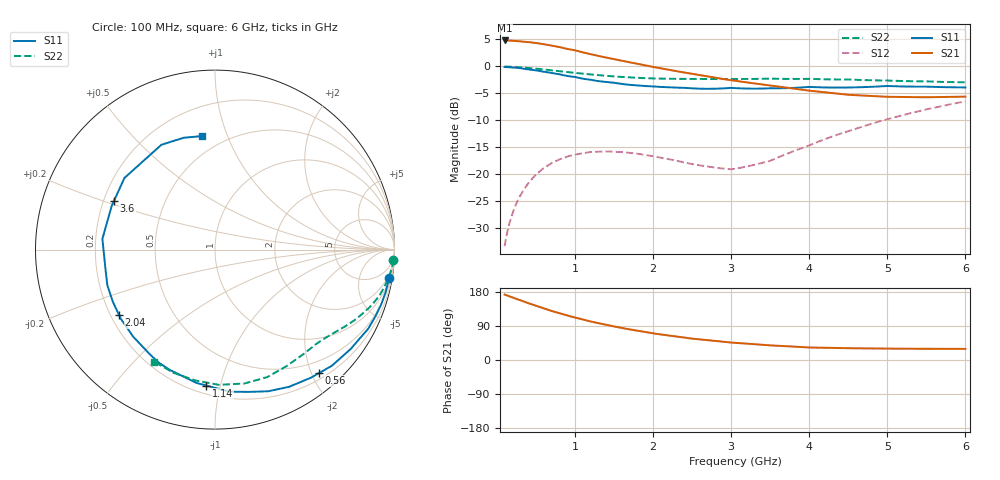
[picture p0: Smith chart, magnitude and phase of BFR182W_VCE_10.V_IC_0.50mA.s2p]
! Infineon Technologies  Discrete & RF Semiconductors
! BFR182W
! VCE =  10. V,  IC = 0.50 mA
! Common Emitter S-Parameters:  Nov 2015
# GHz  S  MA  R  50
!  f  S11  S21  S12  S22
! GHz  MAG  ANG  MAG  ANG  MAG  ANG  MAG  ANG
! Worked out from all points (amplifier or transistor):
!   192 points, 100 MHz to 6 GHz, reference 50 ohm
!   highest |S21| = 4.8 dB at 100 MHz (marker M1)
!   |S21| within 3 dB of that: start of sweep to 1.344 GHz
!   unconditionally stable (mu >= 1): 2.442 GHz to 3.498 GHz
!   at 440 MHz: K = 0.17, MSG = 12.7 dB, |S12| = -21.1 dB
!   at 1.7 GHz: K = 0.67, MSG = 8.4 dB, |S12| = -16.0 dB
!   at 6 GHz: K = 0.89, MSG = 0.4 dB, |S12| = -6.5 dB
!   S11 on the Smith chart (normalised r, x): 100 MHz: 1, -12; 560 MHz: 0.29, -2.12; 1.14 GHz: 0.25, -0.91; 2.04 GHz: 0.23, -0.29; 3.6 GHz: 0.24, +0.22; 6 GHz: 0.39, +0.82
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0.1  0.9838 -9.2  1.734 172.7  0.0215 83.7  0.9943 -3.3
0.16  0.9783 -14.8  1.728 168.1  0.0346 80.8  0.992 -5.3
0.26  0.9658 -23.8  1.714 160.6  0.0555 75.0  0.9829 -8.5
0.4  0.9371 -36.2  1.68 150.2  0.0817 67.7  0.9651 -12.7
0.56  0.8999 -49.8  1.617 139.1  0.1077 59.4  0.9413 -17.1
0.7  0.8689 -61.6  1.556 129.5  0.1263 53.1  0.9183 -20.6
0.8  0.8432 -69.4  1.507 123.4  0.1367 48.9  0.9002 -23.0
1  0.7958 -84.1  1.407 112.0  0.1519 41.4  0.8682 -27.2
1.1  0.7673 -90.8  1.346 107.1  0.1559 38.1  0.8536 -29.0
1.14  0.759 -93.6  1.325 105.0  0.1577 36.8  0.848 -29.7
1.4  0.7161 -110.7  1.205 92.5  0.1625 29.8  0.8149 -34.1
1.6  0.6859 -122.3  1.126 84.3  0.1606 26.0  0.7962 -37.1
1.8  0.6657 -133.2  1.055 77.1  0.1547 23.5  0.781 -40.0
2.04  0.6473 -145.6  0.974 69.2  0.1449 22.2  0.7697 -43.6
2.08  0.6443 -147.4  0.961 68.1  0.1431 22.2  0.7685 -44.2
2.5  0.624 -166.2  0.849 56.4  0.1239 26.1  0.7622 -50.2
2.98  0.6286 175.3  0.746 46.5  0.1111 42.3  0.7616 -58.2
3.1  0.6246 171.2  0.725 44.7  0.1138 47.8  0.7615 -60.3
3.6  0.6246 154.1  0.649 37.6  0.1428 66.7  0.7651 -69.7
4.1  0.6388 139.0  0.584 32.6  0.1977 74.3  0.7597 -79.7
5.1  0.6522 114.9  0.52 29.9  0.3375 71.0  0.7328 -100.5
6  0.6365 96.3  0.523 29.3  0.4735 60.9  0.7103 -118.4
